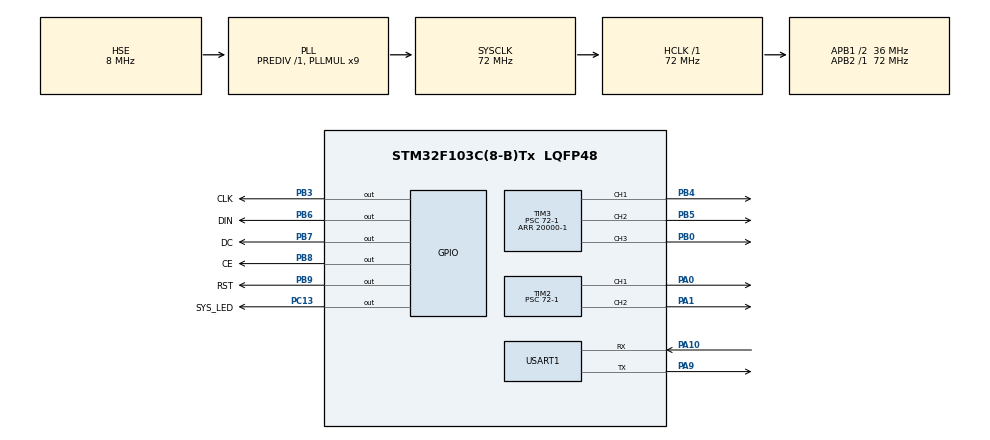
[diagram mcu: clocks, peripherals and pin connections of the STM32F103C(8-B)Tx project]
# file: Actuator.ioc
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Dma.Request0=USART1_TX
Dma.Request1=USART1_RX
Dma.USART1_RX.1.Direction=DMA_PERIPH_TO_MEMORY
Dma.USART1_RX.1.Instance=DMA1_Channel5
Dma.USART1_RX.1.MemDataAlignment=DMA_MDATAALIGN_BYTE
Dma.USART1_RX.1.MemInc=DMA_MINC_ENABLE
Dma.USART1_RX.1.Mode=DMA_CIRCULAR
Dma.USART1_RX.1.PeriphDataAlignment=DMA_PDATAALIGN_BYTE
Dma.USART1_RX.1.PeriphInc=DMA_PINC_DISABLE
Dma.USART1_RX.1.Priority=DMA_PRIORITY_LOW
Dma.USART1_TX.0.Direction=DMA_MEMORY_TO_PERIPH
Dma.USART1_TX.0.Instance=DMA1_Channel4
Dma.USART1_TX.0.MemDataAlignment=DMA_MDATAALIGN_BYTE
Dma.USART1_TX.0.MemInc=DMA_MINC_ENABLE
Dma.USART1_TX.0.Mode=DMA_NORMAL
Dma.USART1_TX.0.PeriphDataAlignment=DMA_PDATAALIGN_BYTE
Dma.USART1_TX.0.PeriphInc=DMA_PINC_DISABLE
Dma.USART1_TX.0.Priority=DMA_PRIORITY_LOW
FREERTOS.Tasks01=SYS_Normal_Task,2,128,LED_Task,Default,NULL,Dynamic,NULL,NULL;UART_Parse_Task,1,1024,PWM_Task,Default,NULL,Dynamic,NULL,NULL;Display_Task,-1,512,LCD_Task,Default,NULL,Dynamic,NULL,NULL
FREERTOS.configTOTAL_HEAP_SIZE=8192
Mcu.Family=STM32F1
Mcu.Name=STM32F103C(8-B)Tx
Mcu.Package=LQFP48
NVIC.DMA1_Channel4_IRQn=true\:5\:0\:false\:false\:true\:true\:false
NVIC.DMA1_Channel5_IRQn=true\:5\:0\:false\:false\:true\:true\:false
NVIC.PriorityGroup=NVIC_PRIORITYGROUP_4
NVIC.USART1_IRQn=true\:5\:0\:false\:false\:true\:true\:true
PA0-WKUP.Signal=S_TIM2_CH1_ETR
PA1.Signal=S_TIM2_CH2
PA10.Mode=Asynchronous
PA10.Signal=USART1_RX
PA13.Mode=Serial_Wire
PA13.Signal=SYS_JTMS-SWDIO
PA14.Mode=Serial_Wire
PA14.Signal=SYS_JTCK-SWCLK
PA9.Mode=Asynchronous
PA9.Signal=USART1_TX
PB0.Signal=S_TIM3_CH3
PB3.GPIO_Label=CLK
PB3.Signal=GPIO_Output
PB4.Signal=S_TIM3_CH1
PB5.Signal=S_TIM3_CH2
PB6.GPIO_Label=DIN
PB6.Signal=GPIO_Output
PB7.GPIO_Label=DC
PB7.Signal=GPIO_Output
PB8.GPIO_Label=CE
PB8.Signal=GPIO_Output
PB9.GPIO_Label=RST
PB9.Signal=GPIO_Output
PC13-TAMPER-RTC.GPIO_Label=SYS_LED
PC13-TAMPER-RTC.Signal=GPIO_Output
PD0-OSC_IN.Mode=HSE-External-Oscillator
PD0-OSC_IN.Signal=RCC_OSC_IN
PD1-OSC_OUT.Mode=HSE-External-Oscillator
PD1-OSC_OUT.Signal=RCC_OSC_OUT
ProjectManager.HeapSize=0x400
ProjectManager.StackSize=0x800
ProjectManager.TargetToolchain=MDK-ARM V5
RCC.AHBFreq_Value=72000000
RCC.APB1CLKDivider=RCC_HCLK_DIV2
RCC.APB1Freq_Value=36000000
RCC.APB1TimFreq_Value=72000000
RCC.APB2Freq_Value=72000000
RCC.APB2TimFreq_Value=72000000
RCC.HCLKFreq_Value=72000000
RCC.PLLMUL=RCC_PLL_MUL9
RCC.PLLSourceVirtual=RCC_PLLSOURCE_HSE
RCC.SYSCLKFreq_VALUE=72000000
RCC.SYSCLKSource=RCC_SYSCLKSOURCE_PLLCLK
RCC.USBFreq_Value=72000000
SH.S_TIM2_CH1_ETR.0=TIM2_CH1,PWM Generation1 CH1
SH.S_TIM2_CH2.0=TIM2_CH2,PWM Generation2 CH2
SH.S_TIM3_CH1.0=TIM3_CH1,PWM Generation1 CH1
SH.S_TIM3_CH2.0=TIM3_CH2,PWM Generation2 CH2
SH.S_TIM3_CH3.0=TIM3_CH3,PWM Generation3 CH3
TIM2.Channel-PWM\ Generation1\ CH1=TIM_CHANNEL_1
TIM2.Channel-PWM\ Generation2\ CH2=TIM_CHANNEL_2
TIM2.OCMode_PWM-PWM\ Generation2\ CH2=TIM_OCMODE_PWM1
TIM2.OCPolarity_1=TIM_OCPOLARITY_HIGH
TIM2.OCPolarity_2=TIM_OCPOLARITY_HIGH
TIM2.Period=20000-1
TIM2.Prescaler=72-1
TIM3.Channel-PWM\ Generation1\ CH1=TIM_CHANNEL_1
TIM3.Channel-PWM\ Generation2\ CH2=TIM_CHANNEL_2
TIM3.Channel-PWM\ Generation3\ CH3=TIM_CHANNEL_3
TIM3.Period=20000-1
TIM3.Prescaler=72-1
USART1.VirtualMode=VM_ASYNC
VP_FREERTOS_VS_ENABLE.Mode=Enabled
board=custom

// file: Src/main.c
/**
  ******************************************************************************
  * @file           : main.c
  * @brief          : Main program body
  ******************************************************************************
  * This notice applies to any and all portions of this file
  * that are not between comment pairs USER CODE BEGIN and
  * USER CODE END. Other portions of this file, whether
  * inserted by the user or by software development tools
  * are owned by their respective copyright owners.
  *
  * Copyright (c) 2018 STMicroelectronics International N.V.
  * All rights reserved.
  *
  * Redistribution and use in source and binary forms, with or without
  * modification, are permitted, provided that the following conditions are met:
  *
  * 1. Redistribution of source code must retain the above copyright notice,
  *    this list of conditions and the following disclaimer.
  * 2. Redistributions in binary form must reproduce the above copyright notice,
  *    this list of conditions and the following disclaimer in the documentation
  *    and/or other materials provided with the distribution.
  * 3. Neither the name of STMicroelectronics nor the names of other
  *    contributors to this software may be used to endorse or promote products
  *    derived from this software without specific written permission.
  * 4. This software, including modifications and/or derivative works of this
  *    software, must execute solely and exclusively on microcontroller or
  *    microprocessor devices manufactured by or for STMicroelectronics.
  * 5. Redistribution and use of this software other than as permitted under
  *    this license is void and will automatically terminate your rights under
  *    this license.
  *
  * THIS SOFTWARE IS PROVIDED BY STMICROELECTRONICS AND CONTRIBUTORS "AS IS"
  * AND ANY EXPRESS, IMPLIED OR STATUTORY WARRANTIES, INCLUDING, BUT NOT
  * LIMITED TO, THE IMPLIED WARRANTIES OF MERCHANTABILITY, FITNESS FOR A
  * PARTICULAR PURPOSE AND NON-INFRINGEMENT OF THIRD PARTY INTELLECTUAL PROPERTY
  * RIGHTS ARE DISCLAIMED TO THE FULLEST EXTENT PERMITTED BY LAW. IN NO EVENT
  * SHALL STMICROELECTRONICS OR CONTRIBUTORS BE LIABLE FOR ANY DIRECT, INDIRECT,
  * INCIDENTAL, SPECIAL, EXEMPLARY, OR CONSEQUENTIAL DAMAGES (INCLUDING, BUT NOT
  * LIMITED TO, PROCUREMENT OF SUBSTITUTE GOODS OR SERVICES; LOSS OF USE, DATA,
  * OR PROFITS; OR BUSINESS INTERRUPTION) HOWEVER CAUSED AND ON ANY THEORY OF
  * LIABILITY, WHETHER IN CONTRACT, STRICT LIABILITY, OR TORT (INCLUDING
  * NEGLIGENCE OR OTHERWISE) ARISING IN ANY WAY OUT OF THE USE OF THIS SOFTWARE,
  * EVEN IF ADVISED OF THE POSSIBILITY OF SUCH DAMAGE.
  *
  ******************************************************************************
  */
#include "main.h"
#include "stm32f1xx_hal.h"
#include "cmsis_os.h"
#include "dma.h"
#include "tim.h"
#include "usart.h"
#include "gpio.h"

/* USER CODE BEGIN PV */
/* Private variables ---------------------------------------------------------*/

/* USER CODE END PV */

void SystemClock_Config(void);
void MX_FREERTOS_Init(void);

/* USER CODE BEGIN PFP */
/* Private function prototypes -----------------------------------------------*/

/* USER CODE END PFP */

int main(void)
{

  /* MCU Configuration----------------------------------------------------------*/

  /* Reset of all peripherals, Initializes the Flash interface and the Systick. */
  HAL_Init();

  /* Configure the system clock */
  SystemClock_Config();

  /* Initialize all configured peripherals */
  MX_GPIO_Init();
  MX_DMA_Init();
  MX_USART1_UART_Init();
  MX_TIM3_Init();
  MX_TIM2_Init();
  /* USER CODE BEGIN 2 */
	HAL_TIM_PWM_Start(&htim2,TIM_CHANNEL_1);
	HAL_TIM_PWM_Start(&htim2,TIM_CHANNEL_2);
	HAL_TIM_PWM_Start(&htim3,TIM_CHANNEL_1);
	HAL_TIM_PWM_Start(&htim3,TIM_CHANNEL_2);
	HAL_TIM_PWM_Start(&htim3,TIM_CHANNEL_3);
	__HAL_TIM_SET_COMPARE(&htim2,TIM_CHANNEL_1,900);
	__HAL_TIM_SET_COMPARE(&htim2,TIM_CHANNEL_2,900);
	__HAL_TIM_SET_COMPARE(&htim3,TIM_CHANNEL_1,900);
	__HAL_TIM_SET_COMPARE(&htim3,TIM_CHANNEL_2,900);
	__HAL_TIM_SET_COMPARE(&htim3,TIM_CHANNEL_3,900);

	/* USART1接收来自路由器的数据 */
    if(HAL_UART_Receive_DMA(&huart1,(uint8_t *)&usart1_rx_buffer,USART1_RX_MAX_SIZE) != HAL_OK)    Error_Handler();
    /* 开启空闲接收中断 */
    __HAL_UART_ENABLE_IT(&huart1, UART_IT_IDLE);

  /* USER CODE END 2 */

  /* Call init function for freertos objects (in freertos.c) */
  MX_FREERTOS_Init();

  /* Start scheduler */
  osKernelStart();

  /* We should never get here as control is now taken by the scheduler */

  /* Infinite loop */
  while (1)
  {

  }

}

void SystemClock_Config(void)
{

  RCC_OscInitTypeDef RCC_OscInitStruct;
  RCC_ClkInitTypeDef RCC_ClkInitStruct;

    /**Initializes the CPU, AHB and APB busses clocks
    */
  RCC_OscInitStruct.OscillatorType = RCC_OSCILLATORTYPE_HSE;
  RCC_OscInitStruct.HSEState = RCC_HSE_ON;
  RCC_OscInitStruct.HSEPredivValue = RCC_HSE_PREDIV_DIV1;
  RCC_OscInitStruct.HSIState = RCC_HSI_ON;
  RCC_OscInitStruct.PLL.PLLState = RCC_PLL_ON;
  RCC_OscInitStruct.PLL.PLLSource = RCC_PLLSOURCE_HSE;
  RCC_OscInitStruct.PLL.PLLMUL = RCC_PLL_MUL9;
  if (HAL_RCC_OscConfig(&RCC_OscInitStruct) != HAL_OK)
  {
    _Error_Handler(__FILE__, __LINE__);
  }

    /**Initializes the CPU, AHB and APB busses clocks
    */
  RCC_ClkInitStruct.ClockType = RCC_CLOCKTYPE_HCLK|RCC_CLOCKTYPE_SYSCLK
                              |RCC_CLOCKTYPE_PCLK1|RCC_CLOCKTYPE_PCLK2;
  RCC_ClkInitStruct.SYSCLKSource = RCC_SYSCLKSOURCE_PLLCLK;
  RCC_ClkInitStruct.AHBCLKDivider = RCC_SYSCLK_DIV1;
  RCC_ClkInitStruct.APB1CLKDivider = RCC_HCLK_DIV2;
  RCC_ClkInitStruct.APB2CLKDivider = RCC_HCLK_DIV1;

  if (HAL_RCC_ClockConfig(&RCC_ClkInitStruct, FLASH_LATENCY_2) != HAL_OK)
  {
    _Error_Handler(__FILE__, __LINE__);
  }

    /**Configure the Systick interrupt time
    */
  HAL_SYSTICK_Config(HAL_RCC_GetHCLKFreq()/1000);

    /**Configure the Systick
    */
  HAL_SYSTICK_CLKSourceConfig(SYSTICK_CLKSOURCE_HCLK);

  /* SysTick_IRQn interrupt configuration */
  HAL_NVIC_SetPriority(SysTick_IRQn, 15, 0);
}

void _Error_Handler(char *file, int line)
{
  while(1)
  {
  }
}

/************************ (C) COPYRIGHT STMicroelectronics *****END OF FILE****/

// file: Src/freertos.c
/* USER CODE BEGIN Header */
/**
  ******************************************************************************
  * File Name          : freertos.c
  * Description        : Code for freertos applications
  ******************************************************************************
  * This notice applies to any and all portions of this file
  * that are not between comment pairs USER CODE BEGIN and
  * USER CODE END. Other portions of this file, whether
  * inserted by the user or by software development tools
  * are owned by their respective copyright owners.
  *
  * Copyright (c) 2018 STMicroelectronics International N.V.
  * All rights reserved.
  *
  * Redistribution and use in source and binary forms, with or without
  * modification, are permitted, provided that the following conditions are met:
  *
  * 1. Redistribution of source code must retain the above copyright notice,
  *    this list of conditions and the following disclaimer.
  * 2. Redistributions in binary form must reproduce the above copyright notice,
  *    this list of conditions and the following disclaimer in the documentation
  *    and/or other materials provided with the distribution.
  * 3. Neither the name of STMicroelectronics nor the names of other
  *    contributors to this software may be used to endorse or promote products
  *    derived from this software without specific written permission.
  * 4. This software, including modifications and/or derivative works of this
  *    software, must execute solely and exclusively on microcontroller or
  *    microprocessor devices manufactured by or for STMicroelectronics.
  * 5. Redistribution and use of this software other than as permitted under
  *    this license is void and will automatically terminate your rights under
  *    this license.
  *
  * THIS SOFTWARE IS PROVIDED BY STMICROELECTRONICS AND CONTRIBUTORS "AS IS"
  * AND ANY EXPRESS, IMPLIED OR STATUTORY WARRANTIES, INCLUDING, BUT NOT
  * LIMITED TO, THE IMPLIED WARRANTIES OF MERCHANTABILITY, FITNESS FOR A
  * PARTICULAR PURPOSE AND NON-INFRINGEMENT OF THIRD PARTY INTELLECTUAL PROPERTY
  * RIGHTS ARE DISCLAIMED TO THE FULLEST EXTENT PERMITTED BY LAW. IN NO EVENT
  * SHALL STMICROELECTRONICS OR CONTRIBUTORS BE LIABLE FOR ANY DIRECT, INDIRECT,
  * INCIDENTAL, SPECIAL, EXEMPLARY, OR CONSEQUENTIAL DAMAGES (INCLUDING, BUT NOT
  * LIMITED TO, PROCUREMENT OF SUBSTITUTE GOODS OR SERVICES; LOSS OF USE, DATA,
  * OR PROFITS; OR BUSINESS INTERRUPTION) HOWEVER CAUSED AND ON ANY THEORY OF
  * LIABILITY, WHETHER IN CONTRACT, STRICT LIABILITY, OR TORT (INCLUDING
  * NEGLIGENCE OR OTHERWISE) ARISING IN ANY WAY OUT OF THE USE OF THIS SOFTWARE,
  * EVEN IF ADVISED OF THE POSSIBILITY OF SUCH DAMAGE.
  *
  ******************************************************************************
  */
/* USER CODE END Header */

#include "FreeRTOS.h"
#include "task.h"
#include "main.h"
#include "cmsis_os.h"

/* USER CODE BEGIN Includes */
#include "gpio.h"
#include "usart.h"
#include "tim.h"
/* USER CODE END Includes */

/* USER CODE BEGIN Variables */
signed char speed_value = 0;
signed char dir_value = 0;
unsigned char pwm_en = 0;
/* USER CODE END Variables */
osThreadId SYS_Normal_TaskHandle;
osThreadId UART_Parse_TaskHandle;
osThreadId Display_TaskHandle;

void LED_Task(void const * argument);
void PWM_Task(void const * argument);
void LCD_Task(void const * argument);

void MX_FREERTOS_Init(void); /* (MISRA C 2004 rule 8.1) */

void MX_FREERTOS_Init(void) {

  /* Create the thread(s) */
  /* definition and creation of SYS_Normal_Task */
  osThreadDef(SYS_Normal_Task, LED_Task, osPriorityHigh, 0, 128);
  SYS_Normal_TaskHandle = osThreadCreate(osThread(SYS_Normal_Task), NULL);

  /* definition and creation of UART_Parse_Task */
  osThreadDef(UART_Parse_Task, PWM_Task, osPriorityAboveNormal, 0, 1024);
  UART_Parse_TaskHandle = osThreadCreate(osThread(UART_Parse_Task), NULL);

  /* definition and creation of Display_Task */
  osThreadDef(Display_Task, LCD_Task, osPriorityBelowNormal, 0, 512);
  Display_TaskHandle = osThreadCreate(osThread(Display_Task), NULL);

}

void LED_Task(void const * argument)
{

  /* USER CODE BEGIN LED_Task */
  /* Infinite loop */
  for(;;)
  {
	  SYS_OK;
    osDelay(500);
  }
  /* USER CODE END LED_Task */
}

void PWM_Task(void const * argument)
{
  /* USER CODE BEGIN PWM_Task */
	uint16_t pwm1_value=0;
	uint16_t pwm2_value=0;
  /* Infinite loop */
  for(;;)
  {
	  if(usart1_rx_flag == 1)
	  {
		  //usart1_printf("I got speed_value:%d dir_value:%d \n",speed_value,dir_value);
		  /* 900 - 2100us */
		  if(pwm_en == 1)
		  {
			  pwm1_value = (speed_value+speed_value*dir_value/100)*6+899;	/* (0~200)*600/100 */
			  pwm2_value = (speed_value-speed_value*dir_value/100)*6+899;

//			  pwm1_value = (speed_value>0?speed_value:(-1*speed_value))*1200/100 + 900;
			  __HAL_TIM_SET_COMPARE(&htim2,TIM_CHANNEL_1,pwm1_value);
			  __HAL_TIM_SET_COMPARE(&htim2,TIM_CHANNEL_2,pwm2_value);
		  }
		  else
		  {
			  __HAL_TIM_SET_COMPARE(&htim2,TIM_CHANNEL_1,900);
			  __HAL_TIM_SET_COMPARE(&htim2,TIM_CHANNEL_2,900);
		  }
		  usart1_rx_flag = 0;
	  }
    osDelay(5);
  }
  /* USER CODE END PWM_Task */
}

void LCD_Task(void const * argument)
{
  for(;;)
  {
    osDelay(1);
  }
}

/************************ (C) COPYRIGHT STMicroelectronics *****END OF FILE****/
